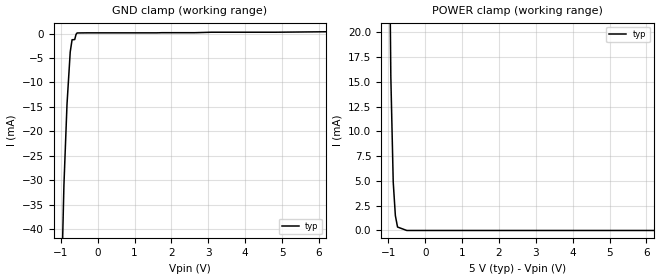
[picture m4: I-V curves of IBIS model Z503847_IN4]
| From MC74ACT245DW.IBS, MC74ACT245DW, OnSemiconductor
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| (C) COPYRIGHT 1993-2000
| MENTOR GRAPHICS CORPORATION
| ICX STANDARD LIBRARY, ICX PROJECT MODELING,
| ICX CUSTOM MODELING, ICX VENDOR MODEL
| ALL RIGHTS RESERVED.
| THE FOLLOWING ARE TRADEMARKS OR SERVICE MARKS OF
| MENTOR GRAPHICS CORPORATION:ICX (R), ICX STANDARD
| LIBRARY(R), ICX PROJECT MODELING(R), ICX CUSTOM
| MODELING(R), qualityIBIS(TM), MODELVIEWER(TM),
| AND MODELEDITOR(TM)
| ALL COPIES OF SOFTWARE, INCLUDING BUT NOT LIMITED TO
| ANY MODIFICATIONS, ENHANCEMENTS OR DERIVATIVE WORKS,
| MUST CONTAIN ALL MENTOR GRAPHICS CORPORATION'S
| NOTICES AND LEGENDS, INCLUDING THOSE EMBEDDED IN
| SOFTWARE AND THOSE AFFIXED TO SOFTWARE MEDIUM
| AND CONTAINER, AS RECEIVED FROM MENTOR GRAPHICS
| CORPORATION.
| Model Application Version 1.89 2/18/99.
[Model] Z503847_IN4
Model_type Input
Vinl = 800.0mV
Vinh = 2.000V
C_comp 4.000pF NA NA
| variable typ   min   max
[Voltage Range] 5.000V NA NA
[GND Clamp Reference] 0.000V NA NA
[POWER Clamp Reference] 5.000V NA NA
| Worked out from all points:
|   GND clamp passes 1 mA (typ) near -0.62 V on its own axis
|   POWER clamp passes 1 mA (typ) near -0.79 V on its own axis
[GND Clamp]
-5V       -2.327A    NA         NA
-1.065V   -77.28mA   NA         NA
-917.8mV  -31.01mA   NA         NA
-834.6mV  -14.51mA   NA         NA
-747mV    -3.754mA   NA         NA
-696.5mV  -1.25mA    NA         NA
-625.2mV  -1.213mA   NA         NA
-590.8mV  -207.2uA   NA         NA
-551.6mV  133.7uA    NA         NA
10V       641.4uA    NA         NA
[POWER Clamp]
-5V       3.301A     NA         NA
-1.108V   98.88mA    NA         NA
-1.035V   54.23mA    NA         NA
-934mV    15.51mA    NA         NA
-869mV    4.881mA    NA         NA
-811mV    1.499mA    NA         NA
-752mV    347.1uA    NA         NA
-501.3mV  0A         NA         NA
10V       0A         NA         NA
